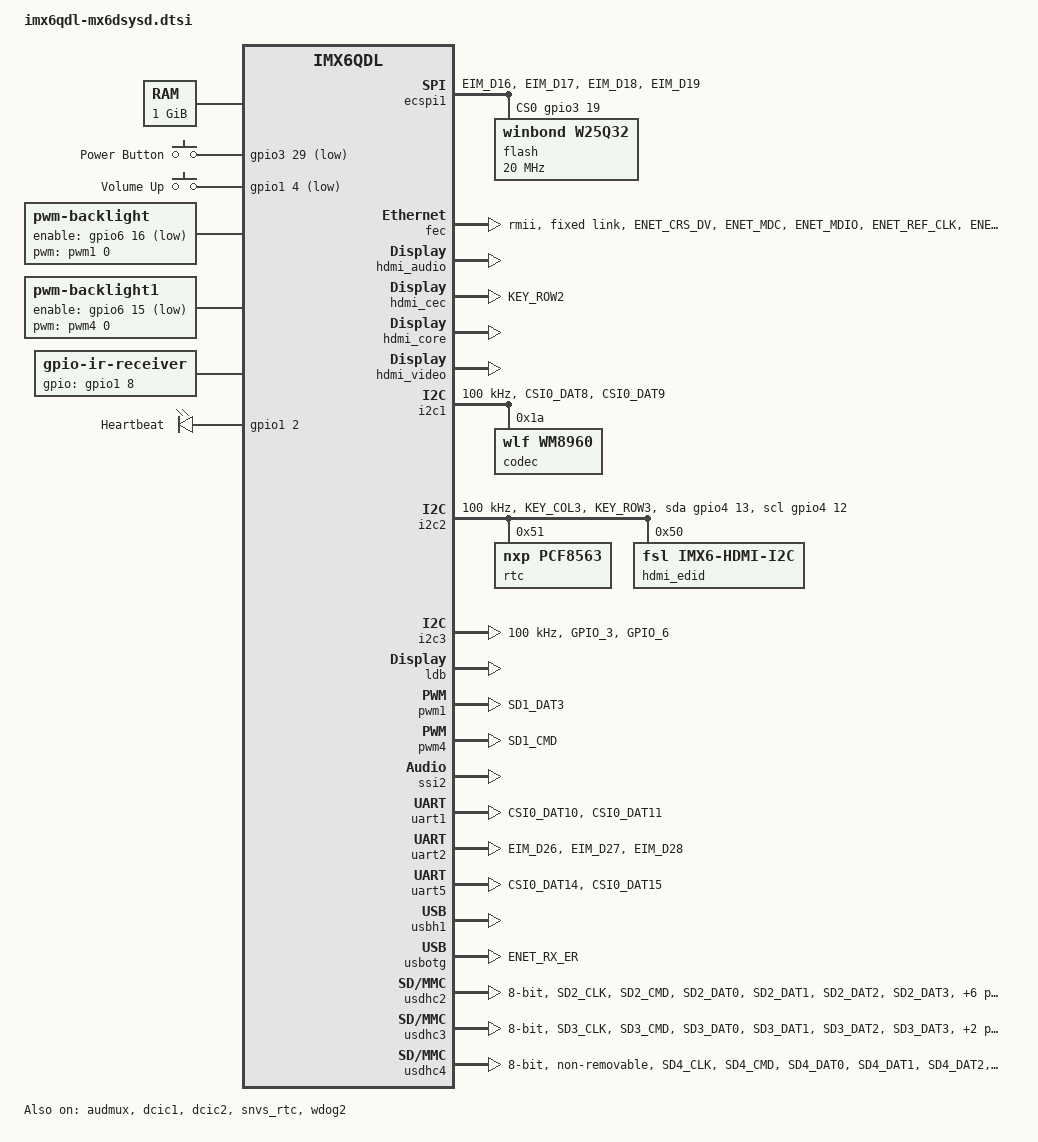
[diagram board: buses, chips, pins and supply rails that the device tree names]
/*
 * support fot the imx6 based aristainetos board
 *
 * Copyright (C) 2014 Heiko Schocher <hs@denx.de>
 *
 * Copyright 2015 Freescale Semiconductor, Inc. All Rights Reserved.
 *
 * This program is free software; you can redistribute it and/or modify
 * it under the terms of the GNU General Public License version 2 as
 * published by the Free Software Foundation.
 *
 */

#include <dt-bindings/gpio/gpio.h>
#include <dt-bindings/input/input.h>

/ {
	aliases {
		mxcfb0 = &mxcfb1;
		mxcfb1 = &mxcfb2;
		mxcfb2 = &mxcfb3;
		mxcfb3 = &mxcfb4;
	};

	chosen {
		stdout-path = &uart1;
	};

	
	memory: memory {
		reg = <0x10000000 0x40000000>;
	};

	gpio-keys {
		compatible = "gpio-keys";
		pinctrl-names = "default";
		pinctrl-0 = <&pinctrl_gpio_keys>;

		power {
			label = "Power Button";
			gpios = <&gpio3 29 GPIO_ACTIVE_LOW>;
			gpio-key,wakeup;
			linux,code = <KEY_POWER>;
		};

		volume-up {
			label = "Volume Up";
			gpios = <&gpio1 4 GPIO_ACTIVE_LOW>;
			gpio-key,wakeup;
			linux,code = <KEY_VOLUMEUP>;
		};

	/*	volume-down {
			label = "Volume Down";
			gpios = <&gpio6 4 GPIO_ACTIVE_LOW>;
			gpio-key,wakeup;
			linux,code = <KEY_VOLUMEDOWN>;
		};*/
	};

	sound-wm8960 {
		compatible ="fsl,imx6q-sabresd-wm8960", 
					"fsl,imx-audio-wm8960";
		model = "wm8960-audio";
		cpu-dai = <&ssi2>;
		audio-codec = <&codec>;
		codec-master;
		asrc-controller = <&asrc>;
		/*ssi-controller = <&ssi2>;*/
		gpr = <&gpr 4 0x100000 0x100000>;
		audio-routing =
			"Headset Jack", "HP_L",
            "Headset Jack", "HP_R",
			"Ext Spk", "SPK_LP",
			"Ext Spk", "SPK_LN",
			"Ext Spk", "SPK_RP",
			"Ext Spk", "SPK_RN",
			"LINPUT1", "Main MIC",
			"LINPUT2", "Main MIC"/*,
			"Main MIC", "MICB"*/;
		mux-int-port = <2>;
		mux-ext-port = <3>;
	/*	hp-det-gpios = <&gpio1 4 1>; */
		status = "okay";
	};

	sound-hdmi {
		compatible = "fsl,imx6q-audio-hdmi",
			     "fsl,imx-audio-hdmi";
		model = "imx-audio-hdmi";
		hdmi-controller = <&hdmi_audio>;
		/*status = "okay";*/
	};

	mxcfb1: fb@0 {
		compatible = "fsl,mxc_sdc_fb";
		disp_dev = "ldb";
		interface_pix_fmt = "RGB24";
		default_bpp = <32>;
		int_clk = <0>;
		late_init = <0>;
		status = "okay";
	};

	mxcfb2: fb@1 {
		compatible = "fsl,mxc_sdc_fb";
		disp_dev = "hdmi";
		interface_pix_fmt = "RGB24";
		mode_str ="1920x1080M@60";
		default_bpp = <32>;
		int_clk = <0>;
		late_init = <0>;
		status = "okay";
	};

	mxcfb3: fb@2 {
		compatible = "fsl,mxc_sdc_fb";
		disp_dev = "lcd";
		interface_pix_fmt = "RGB24";
		default_bpp = <32>;
		int_clk = <0>;
		late_init = <0>;
		status = "disabled";
	};

	mxcfb4: fb@3 {
		compatible = "fsl,mxc_sdc_fb";
		disp_dev = "ldb";
		interface_pix_fmt = "RGB24";
		default_bpp = <32>;
		int_clk = <0>;
		late_init = <0>;
		status = "disabled";
	};

	lcd@0 {
		compatible = "fsl,lcd";
		ipu_id = <0>;
		disp_id = <1>;
		default_ifmt = "RGB24";
		pinctrl-names = "default";
		pinctrl-0 = <&pinctrl_ipu1>;
		status = "okay";
	};

	backlight {
		compatible = "pwm-backlight";
		pwms = <&pwm1 0 5000000>;
		brightness-levels = <0 4 8 16 32 64 128 255>;
		default-brightness-level = <7>;
		status = "okay";
		enable-gpios = <&gpio6 16 1>;
	};

	backlight1 {
		compatible = "pwm-backlight1";
		pwms = <&pwm4 0 5000000>;
		brightness-levels = <0 4 8 16 32 64 128 255>;
		default-brightness-level = <7>;
		status = "okay";
		enable-gpios = <&gpio6 15 1>;
	};
	
	ir-receiver {
		compatible = "gpio-ir-receiver";
		gpios = <&gpio1 8 GPIO_ACTIVE_HIGH>;
		pinctrl-names = "default";
		pinctrl-0 = <&pinctrl_ir1>;
		};
/*
	sound-spdif {
		compatible = "fsl,imx-audio-spdif",
			   "fsl,imx-sabreauto-spdif";
		model = "imx-spdif";
		spdif-controller = <&spdif>;
		spdif-in;
	};
*/		
	mx6dsysd_gpio {
					toot-gpio-out = <&gpio5 18 0
					     			 &gpio5 19 0 
									 &gpio5 21 0 
									 &gpio6 2 0 
									 &gpio6 3 0
									 &gpio6 4 0>;
									
					toot-gpio-in = <&gpio4 6 1
									&gpio4 7 1
									&gpio4 8 1
									&gpio4 20 1
									&gpio2 25 1
									&gpio2 23 1
									&gpio2 24 1
									&gpio5 2 1>;
					};		
					
	leds {
    compatible = "gpio-leds";

    debug-led {
            label = "Heartbeat";
            gpios = <&gpio1 2 0>;
            linux,default-trigger = "heartbeat";
			    };
		};

	v4l2_cap_0 {
		compatible = "fsl,imx6q-v4l2-capture";
		ipu_id = <0>;
		csi_id = <0>;
		mclk_source = <0>;
		status = "okay";
	};

	v4l2_out {
		compatible = "fsl,mxc_v4l2_output";
		status = "okay";
	};

};

&audmux {
	pinctrl-names = "default";
	pinctrl-0 = <&pinctrl_audmux>;
	status = "okay";
};

&clks {
/*	assigned-clocks = <&clks IMX6QDL_PLL4_BYPASS_SRC>,
			  <&clks IMX6QDL_PLL4_BYPASS>,
			  <&clks IMX6QDL_CLK_LDB_DI0_SEL>,
			  <&clks IMX6QDL_CLK_LDB_DI1_SEL>,
			  <&clks IMX6QDL_CLK_PLL4_POST_DIV>;
	assigned-clock-parents = <&clks IMX6QDL_CLK_LVDS2_IN>,
				 <&clks IMX6QDL_PLL4_BYPASS_SRC>,
				 <&clks IMX6QDL_CLK_PLL2_PFD0_352M>,
				 <&clks IMX6QDL_CLK_PLL2_PFD0_352M>;
	assigned-clock-rates = <0>, <0>, <0>, <0>, <24576000>;*/
};

&ecspi1 {
	fsl,spi-num-chipselects = <1>;/*only one SPI devices*/
	cs-gpios = <&gpio3 19 0>;
	pinctrl-names = "default";
	pinctrl-0 = <&pinctrl_ecspi1 &pinctrl_ecspi1_cs>;
	status = "okay";

	flash: m25p80@0 {
		#address-cells = <1>;
		#size-cells = <1>;
		compatible = "winbond,w25q32";
		spi-max-frequency = <20000000>;
		reg = <0>;   
	};
	/*
	spidev: spidev@1 {  
        spi-max-frequency = <24000000>;    
        reg = <1>;    
        compatible = "rohm,dh2228fv";         
    };  
	*/
};

&fec {
	pinctrl-names = "default";
	pinctrl-0 = <&pinctrl_enet>;
	stop-mode = <&gpr 0x34 0x1b>;
	fsl,wakeup_irq = <0x0>;
	phy-mode = "rmii";
	phy-reset-gpios = <&gpio4 14 GPIO_ACTIVE_LOW>;
	phy-reset-duration = <0x64>;
	status = "okay";
	
	fixed-link {
					speed = <100>;
					full-duplex;
				};
};

&gpc {
	fsl,ldo-bypass = <0>;
};

&dcic1 {
	dcic_id = <0>;
	dcic_mux = "dcic-hdmi";
	status = "okay";
};

&dcic2 {
	dcic_id = <1>;
	dcic_mux = "dcic-lvds1";
	status = "okay";
};

&hdmi_audio {
	status = "okay";
};

&hdmi_cec {
	pinctrl-names = "default";
	pinctrl-0 = <&pinctrl_hdmi_cec>;
	status = "okay";
};

&hdmi_core {
	ipu_id = <0>;
	disp_id = <1>;
	status = "okay";
};

&hdmi_video {
	fsl,phy_reg_vlev = <0x0294>;
	fsl,phy_reg_cksymtx = <0x800d>;
	
	status = "okay";
};



&i2c1 {
	clock-frequency = <100000>;
	pinctrl-names = "default";
	pinctrl-0 = <&pinctrl_i2c1>;
	status = "okay";

	    codec: wm8960@1a {
		compatible = "wlf,wm8960";
	/*	pinctrl-0 = <&pinctrl_wm8960>;*/
		reg = <0x1a>;
		clocks = <&clks IMX6QDL_CLK_CKO>;
		clock-names = "mclk";
	/*	amic-mono;*/
		wlf,shared-lrclk;
	};
	
};

&i2c2 {
	clock-frequency = <100000>;
	pinctrl-names = "default";
	pinctrl-0 = <&pinctrl_i2c2>;
	pinctrl-1 = <&pinctrl_i2c2_gpio>;
	scl-gpios = <&gpio4 12 GPIO_ACTIVE_HIGH>;
	sda-gpios = <&gpio4 13 GPIO_ACTIVE_HIGH>;
	status = "okay";

	rtc@51 {
		compatible = "nxp,pcf8563";
		reg = <0x51>;
		work-mode = <1>;/*DCM mode*/
	};
		
	hdmi_edid: edid@50 {
		compatible = "fsl,imx6-hdmi-i2c";
		reg = <0x50>;
	};

};

&i2c3 {
	clock-frequency = <100000>;
	pinctrl-names = "default";
	pinctrl-0 = <&pinctrl_i2c3>;
	status = "okay";

};

&iomuxc {
	pinctrl-names = "default";
	pinctrl-0 = <&pinctrl_hog>;

	imx6qdl-sabresd {
		pinctrl_hog: hoggrp {
			fsl,pins = <
				MX6QDL_PAD_NANDF_D0__GPIO2_IO00 0x80000000
				MX6QDL_PAD_NANDF_D1__GPIO2_IO01 0x80000000
				MX6QDL_PAD_GPIO_0__CCM_CLKO1		0x130b0
			/*	MX6QDL_PAD_GPIO_4__GPIO1_IO04              0x8000000*/
				MX6QDL_PAD_EIM_OE__GPIO2_IO25              0x8000000
				MX6QDL_PAD_EIM_CS0__GPIO2_IO23              0x8000000
				MX6QDL_PAD_EIM_CS1__GPIO2_IO24              0x8000000
				MX6QDL_PAD_KEY_COL0__GPIO4_IO06              0x8000000
				MX6QDL_PAD_KEY_ROW0__GPIO4_IO07              0x8000000
				MX6QDL_PAD_KEY_COL1__GPIO4_IO08              0x8000000
				MX6QDL_PAD_KEY_ROW1__GPIO4_IO09              0x8000000
				MX6QDL_PAD_KEY_COL2__GPIO4_IO10              0x8000000
				MX6QDL_PAD_DI0_PIN4__GPIO4_IO20              0x8000000
				MX6QDL_PAD_EIM_A25__GPIO5_IO02              0x8000000
				MX6QDL_PAD_CSI0_PIXCLK__GPIO5_IO18              0x8000000
				MX6QDL_PAD_CSI0_MCLK__GPIO5_IO19              0x8000000
				MX6QDL_PAD_CSI0_VSYNC__GPIO5_IO21              0x8000000
				MX6QDL_PAD_CSI0_DAT16__GPIO6_IO02              0x8000000
				MX6QDL_PAD_CSI0_DAT17__GPIO6_IO03              0x8000000
				MX6QDL_PAD_CSI0_DAT18__GPIO6_IO04              0x8000000
				MX6QDL_PAD_NANDF_CS0__GPIO6_IO11              0x8000000
				MX6QDL_PAD_NANDF_CS1__GPIO6_IO14              0x8000000				
					>;
				    };

		pinctrl_audmux: audmuxgrp {
			fsl,pins = <
				MX6QDL_PAD_CSI0_DAT7__AUD3_RXD		0x130b0
				MX6QDL_PAD_CSI0_DAT4__AUD3_TXC		0x130b0
				MX6QDL_PAD_CSI0_DAT5__AUD3_TXD		0x110b0
				MX6QDL_PAD_CSI0_DAT6__AUD3_TXFS		0x130b0
				>;
					};
/*
		pinctrl_wm8960:wm8960grp {
				fsl,pins = <
				MX6QDL_PAD_GPIO_0__CCM_CLKO1		0x1b0b0
				>;
					};
*/
		pinctrl_ecspi1: ecspi1grp {
			fsl,pins = <
				MX6QDL_PAD_EIM_D16__ECSPI1_SCLK            0x000100B1
                MX6QDL_PAD_EIM_D17__ECSPI1_MISO            0x000100B1
                MX6QDL_PAD_EIM_D18__ECSPI1_MOSI            0x000100B1
               	>;
					};
					
		pinctrl_ecspi1_cs: ecspi1cs {
			fsl,pins = <
				MX6QDL_PAD_EIM_D19__GPIO3_IO19 0x80000000
			>;
					};

		pinctrl_enet: enetgrp {
			fsl,pins = <
				MX6QDL_PAD_ENET_CRS_DV__ENET_RX_EN         0x0001B0B0
                		MX6QDL_PAD_ENET_MDC__ENET_MDC              0x0001B0B0
                		MX6QDL_PAD_ENET_MDIO__ENET_MDIO            0x0001B0B0
                		MX6QDL_PAD_ENET_REF_CLK__ENET_TX_CLK       0x0001B0B0
                		MX6QDL_PAD_ENET_RXD0__ENET_RX_DATA0        0x0001B0B0
                		MX6QDL_PAD_ENET_RXD1__ENET_RX_DATA1        0x0001B0B0
                		MX6QDL_PAD_ENET_TXD0__ENET_TX_DATA0        0x0001B0B0
                		MX6QDL_PAD_ENET_TXD1__ENET_TX_DATA1        0x0001B0B0
                		MX6QDL_PAD_ENET_TX_EN__ENET_TX_EN          0x000130B0
                		MX6QDL_PAD_GPIO_16__ENET_REF_CLK           0x4001b0a8
                		MX6QDL_PAD_KEY_COL4__GPIO4_IO14			   0x80000000
                		MX6QDL_PAD_GPIO_5__GPIO1_IO05	 	 	   0x80000000
				>;
				};

		pinctrl_gpio_keys: gpio_keysgrp {
			fsl,pins = <
				MX6QDL_PAD_EIM_D29__GPIO3_IO29 0x1b0b0
				MX6QDL_PAD_GPIO_4__GPIO1_IO04  0x1b0b0
				>;
						};

		pinctrl_hdmi_cec: hdmicecgrp {
			fsl,pins = <
				MX6QDL_PAD_KEY_ROW2__HDMI_TX_CEC_LINE 0x108b0
			>;
						};

		pinctrl_hdmi_hdcp: hdmihdcpgrp {
			fsl,pins = <
				MX6QDL_PAD_KEY_COL3__HDMI_TX_DDC_SCL 0x4001b8b1
				MX6QDL_PAD_KEY_ROW3__HDMI_TX_DDC_SDA 0x4001b8b1
				>;
						};

		pinctrl_i2c1: i2c1grp {
			fsl,pins = <
			MX6QDL_PAD_CSI0_DAT8__I2C1_SDA             0x4001b8b1
            		MX6QDL_PAD_CSI0_DAT9__I2C1_SCL             0x4001b8b1
			>;
					};

		pinctrl_i2c2: i2c2grp {
		fsl,pins = <
			MX6QDL_PAD_KEY_COL3__I2C2_SCL              0x4001b8b9
			MX6QDL_PAD_KEY_ROW3__I2C2_SDA              0x4001b8b9
			>;
	   				 };

		pinctrl_i2c2_gpio: i2c2_gpio_grp {
			fsl,pins = <
				MX6QDL_PAD_KEY_COL3__GPIO4_IO12		0x1b0b0
				MX6QDL_PAD_KEY_ROW3__GPIO4_IO13		0x1b0b0
			>;
		};


		pinctrl_i2c3: i2c3grp {
		fsl,pins = <
			MX6QDL_PAD_GPIO_3__I2C3_SCL                0x4001b8b1
			MX6QDL_PAD_GPIO_6__I2C3_SDA                0x4001b8b1
			>;
	    			};

		pinctrl_ipu1: ipu1grp {
			fsl,pins = <
				MX6QDL_PAD_DI0_DISP_CLK__IPU1_DI0_DISP_CLK 0x10
				MX6QDL_PAD_DI0_PIN15__IPU1_DI0_PIN15       0x10
				MX6QDL_PAD_DI0_PIN2__IPU1_DI0_PIN02        0x10
				MX6QDL_PAD_DI0_PIN3__IPU1_DI0_PIN03        0x10
				MX6QDL_PAD_DISP0_DAT0__IPU1_DISP0_DATA00   0x10
				MX6QDL_PAD_DISP0_DAT1__IPU1_DISP0_DATA01   0x10
				MX6QDL_PAD_DISP0_DAT2__IPU1_DISP0_DATA02   0x10
				MX6QDL_PAD_DISP0_DAT3__IPU1_DISP0_DATA03   0x10
				MX6QDL_PAD_DISP0_DAT4__IPU1_DISP0_DATA04   0x10
				MX6QDL_PAD_DISP0_DAT5__IPU1_DISP0_DATA05   0x10
				MX6QDL_PAD_DISP0_DAT6__IPU1_DISP0_DATA06   0x10
				MX6QDL_PAD_DISP0_DAT7__IPU1_DISP0_DATA07   0x10
				MX6QDL_PAD_DISP0_DAT8__IPU1_DISP0_DATA08   0x10
				MX6QDL_PAD_DISP0_DAT9__IPU1_DISP0_DATA09   0x10
				MX6QDL_PAD_DISP0_DAT10__IPU1_DISP0_DATA10  0x10
				MX6QDL_PAD_DISP0_DAT11__IPU1_DISP0_DATA11  0x10
				MX6QDL_PAD_DISP0_DAT12__IPU1_DISP0_DATA12  0x10
				MX6QDL_PAD_DISP0_DAT13__IPU1_DISP0_DATA13  0x10
				MX6QDL_PAD_DISP0_DAT14__IPU1_DISP0_DATA14  0x10
				MX6QDL_PAD_DISP0_DAT15__IPU1_DISP0_DATA15  0x10
				MX6QDL_PAD_DISP0_DAT16__IPU1_DISP0_DATA16  0x10
				MX6QDL_PAD_DISP0_DAT17__IPU1_DISP0_DATA17  0x10
				MX6QDL_PAD_DISP0_DAT18__IPU1_DISP0_DATA18  0x10
				MX6QDL_PAD_DISP0_DAT19__IPU1_DISP0_DATA19  0x10
				MX6QDL_PAD_DISP0_DAT20__IPU1_DISP0_DATA20  0x10
				MX6QDL_PAD_DISP0_DAT21__IPU1_DISP0_DATA21  0x10
				MX6QDL_PAD_DISP0_DAT22__IPU1_DISP0_DATA22  0x10
				MX6QDL_PAD_DISP0_DAT23__IPU1_DISP0_DATA23  0x10
			>;
				};

		pinctrl_pwm1: pwm1grp {
			fsl,pins = <
				MX6QDL_PAD_SD1_DAT3__PWM1_OUT		0x1b0b1
				>;
				};
		
		pinctrl_pwm4: pwm4grp {
			fsl,pins = <
				MX6QDL_PAD_SD1_CMD__PWM4_OUT		0x1b0b1
				>;
				};
		
		

		pinctrl_uart1: uart1grp {
		fsl,pins = <
			MX6QDL_PAD_CSI0_DAT10__UART1_TX_DATA       0x0001B0B1
            		MX6QDL_PAD_CSI0_DAT11__UART1_RX_DATA       0x0001B0B1
            		>;
	  			 };
	   
	   	pinctrl_uart2: uart2grp {
		fsl,pins = <
				MX6QDL_PAD_EIM_D26__UART2_TX_DATA          0x0001B0B1
            	MX6QDL_PAD_EIM_D27__UART2_RX_DATA          0x0001B0B1
                MX6QDL_PAD_EIM_D28__UART2_CTS_B            0x0001B0B1
			>;
				};
	
		pinctrl_uart3: uart3grp {
		fsl,pins = <
				MX6QDL_PAD_EIM_D24__UART3_TX_DATA          0x0001B0B1
            	MX6QDL_PAD_EIM_D25__UART3_RX_DATA          0x0001B0B1
			>;
				};
	
	
		pinctrl_uart4: uart4grp {
		fsl,pins = <
				MX6QDL_PAD_CSI0_DAT12__UART4_TX_DATA       0x0001B0B1
            	MX6QDL_PAD_CSI0_DAT13__UART4_RX_DATA       0x0001B0B1
			>;
				};
		
		pinctrl_uart5: uart5grp {
		fsl,pins = <
				MX6QDL_PAD_CSI0_DAT14__UART5_TX_DATA       0x0001B0B1
            	MX6QDL_PAD_CSI0_DAT15__UART5_RX_DATA       0x0001B0B1
			>;
				};

		pinctrl_usbotg: usbotggrp {
			fsl,pins = <
			MX6QDL_PAD_ENET_RX_ER__USB_OTG_ID	0x17059
			>;
		};
		
		pinctrl_usdhc2: usdhc2grp {
		fsl,pins = <
					MX6QDL_PAD_SD2_CLK__SD2_CLK                0x00010059
                	MX6QDL_PAD_SD2_CMD__SD2_CMD                0x00017059
                	MX6QDL_PAD_SD2_DAT0__SD2_DATA0             0x00017059
                	MX6QDL_PAD_SD2_DAT1__SD2_DATA1             0x00017059
                	MX6QDL_PAD_SD2_DAT2__SD2_DATA2             0x00017059
                	MX6QDL_PAD_SD2_DAT3__SD2_DATA3             0x00017059
			MX6QDL_PAD_NANDF_D4__SD2_DATA4		0x17059
			MX6QDL_PAD_NANDF_D5__SD2_DATA5		0x17059
			MX6QDL_PAD_NANDF_D6__SD2_DATA6		0x17059
			MX6QDL_PAD_NANDF_D7__SD2_DATA7		0x17059
                               
			>;
					};
	
		pinctrl_usdhc3: usdhc3grp {
		fsl,pins = <
					MX6QDL_PAD_SD3_CLK__SD3_CLK                0x00010059
                	MX6QDL_PAD_SD3_CMD__SD3_CMD                0x00017059
                	MX6QDL_PAD_SD3_DAT0__SD3_DATA0             0x00017059
                	MX6QDL_PAD_SD3_DAT1__SD3_DATA1             0x00017059
                	MX6QDL_PAD_SD3_DAT2__SD3_DATA2             0x00017059
                	MX6QDL_PAD_SD3_DAT3__SD3_DATA3             0x00017059
                               
			>;
					};
	
		pinctrl_usdhc4: usdhc4grp {
		fsl,pins = <
					MX6QDL_PAD_SD4_CLK__SD4_CLK                0x00010059
                	MX6QDL_PAD_SD4_CMD__SD4_CMD                0x00017059
                	MX6QDL_PAD_SD4_DAT0__SD4_DATA0             0x00017059
                	MX6QDL_PAD_SD4_DAT1__SD4_DATA1             0x00017059
                	MX6QDL_PAD_SD4_DAT2__SD4_DATA2             0x00017059
                	MX6QDL_PAD_SD4_DAT3__SD4_DATA3             0x00017059
                	MX6QDL_PAD_SD4_DAT4__SD4_DATA4             0x00017059
                	MX6QDL_PAD_SD4_DAT5__SD4_DATA5             0x00017059
                	MX6QDL_PAD_SD4_DAT6__SD4_DATA6             0x00017059
                	MX6QDL_PAD_SD4_DAT7__SD4_DATA7             0x00017059
			>;
					};
		
		pinctrl_wdog: wdoggrp {
			fsl,pins = <
			MX6QDL_PAD_GPIO_1__WDOG2_B 0x80000000
			>;
				};
		
		pinctrl_ir1: irgrp {
			fsl,pins= <
 			MX6QDL_PAD_GPIO_8__GPIO1_IO08  0x80000000
			>;
				};
				
		pinctrl_epdc_0: epdcgrp-0 {
                        fsl,pins = <
                                MX6QDL_PAD_EIM_A16__EPDC_DATA00    0x80000000
                                MX6QDL_PAD_EIM_DA10__EPDC_DATA01   0x80000000
                                MX6QDL_PAD_EIM_DA12__EPDC_DATA02   0x80000000
                                MX6QDL_PAD_EIM_DA11__EPDC_DATA03   0x80000000
                                MX6QDL_PAD_EIM_LBA__EPDC_DATA04    0x80000000
                                MX6QDL_PAD_EIM_EB2__EPDC_DATA05    0x80000000
                                MX6QDL_PAD_EIM_CS0__EPDC_DATA06    0x80000000
                                MX6QDL_PAD_EIM_RW__EPDC_DATA07     0x80000000
                                MX6QDL_PAD_EIM_A21__EPDC_GDCLK     0x80000000
                                MX6QDL_PAD_EIM_A22__EPDC_GDSP      0x80000000
                                MX6QDL_PAD_EIM_A23__EPDC_GDOE      0x80000000
                                MX6QDL_PAD_EIM_A24__EPDC_GDRL      0x80000000
                                MX6QDL_PAD_EIM_D31__EPDC_SDCLK_P   0x80000000
                                MX6QDL_PAD_EIM_D27__EPDC_SDOE      0x80000000
                                MX6QDL_PAD_EIM_DA1__EPDC_SDLE      0x80000000
                                MX6QDL_PAD_EIM_EB1__EPDC_SDSHR     0x80000000
                                MX6QDL_PAD_EIM_DA2__EPDC_BDR0      0x80000000
                                MX6QDL_PAD_EIM_DA4__EPDC_SDCE0     0x80000000
                                MX6QDL_PAD_EIM_DA5__EPDC_SDCE1     0x80000000
                                MX6QDL_PAD_EIM_DA6__EPDC_SDCE2     0x80000000
                        >;
                };
        
	};

};

&ldb {
	status = "okay";
	split-mode;

	lvds-channel@0 {
		fsl,data-mapping = "spwg";
		fsl,data-width = <24>;
		primary;
		status = "okay";

		display-timings {
			native-mode = <&timing0>;
			timing0: hsd100pxn1 {
				clock-frequency = <128500000>;
				hactive = <1920>;
				vactive = <1080>;
				hback-porch = <220>;
				hfront-porch = <40>;
				vback-porch = <21>;
				vfront-porch = <7>;
				hsync-len = <60>;
				vsync-len = <10>;
			};
		};
	};

	lvds-channel@1 {
		fsl,data-mapping = "spwg";
		fsl,data-width = <18>;
		status = "disabled";

		display-timings {
			native-mode = <&timing1>;
			timing1: hsd100pxn1 {
				clock-frequency = <128500000>;
				hactive = <1920>;
				vactive = <1080>;
				hback-porch = <220>;
				hfront-porch = <40>;
				vback-porch = <21>;
				vfront-porch = <7>;
				hsync-len = <60>;
				vsync-len = <10>;
			};
		};
	};
};

&pwm1 {
	pinctrl-names = "default";
	pinctrl-0 = <&pinctrl_pwm1>;
	status = "okay";
};

&pwm4 {
	pinctrl-names = "default";
	pinctrl-0 = <&pinctrl_pwm4>;
	status = "okay";
};
/*
&spdif {
	pinctrl-names = "default";
	pinctrl-0 = <&pinctrl_spdif>;
	assigned-clocks = <&clks IMX6QDL_CLK_SPDIF_SEL>,
			  <&clks IMX6QDL_CLK_SPDIF_PODF>;
	assigned-clock-parents = <&clks IMX6QDL_CLK_PLL3_PFD3_454M>;
	assigned-clock-rates = <0>, <227368421>;
	status = "okay";
};
*/

&snvs_rtc {
	status = "okay";
	   };


&snvs_poweroff {
	status = "okay";
};

&ssi2 {
	fsl,mode = "i2s-slave";
/*	assigned-clocks = <&clks IMX6QDL_CLK_PLL4>,
			  <&clks IMX6QDL_PLL4_BYPASS>,
			  <&clks IMX6QDL_CLK_SSI2_SEL>;
	assigned-clock-parents = <&clks IMX6QDL_CLK_OSC>,
				 <&clks IMX6QDL_CLK_PLL4>,
				 <&clks IMX6QDL_CLK_PLL4_AUDIO_DIV>;
	assigned-clock-rates = <1179648000>, <0>, <0>;*/
	status = "okay";
};

&uart1 {
	pinctrl-names = "default";
	pinctrl-0 = <&pinctrl_uart1>;
	status = "okay";
};

&uart2 {
	pinctrl-names = "default";
	pinctrl-0 = <&pinctrl_uart2>;
	status = "okay";
	fsl,uart-has-rtscts;
/*	cts-gpios = <&gpio3 28 GPIO_ACTIVE_LOW>;
	linux,rs485-enabled-at-boot-time; */
};

&uart5 {
	pinctrl-names = "default";
	pinctrl-0 = <&pinctrl_uart5>;
	status = "okay";
};


&usbh1 {
	status = "okay";
};

&usbotg {
	pinctrl-names = "default";
	pinctrl-0 = <&pinctrl_usbotg>;
	disable-over-current;
	srp-disable;
	hnp-disable;
	adp-disable;
	status = "okay";
};

&usbphy1 {
	tx-d-cal = <0x5>;
};

&usbphy2 {
	tx-d-cal = <0x5>;
};

&usdhc2 {
	pinctrl-names = "default";
	pinctrl-0 = <&pinctrl_usdhc2>;
	bus-width = <8>;
	cd-gpios = <&gpio2 0 GPIO_ACTIVE_LOW>;
	wp-gpios = <&gpio2 1 GPIO_ACTIVE_HIGH>;
	no-1-8-v;
	keep-power-in-suspend;
	enable-sdio-wakeup;
	status = "okay";
};

&usdhc3 {
	pinctrl-names = "default";
	pinctrl-0 = <&pinctrl_usdhc3>;
	bus-width = <8>;
	cd-gpios = <&gpio2 2 GPIO_ACTIVE_LOW>;
	wp-gpios = <&gpio2 3 GPIO_ACTIVE_HIGH>;
	no-1-8-v;
	keep-power-in-suspend;
	enable-sdio-wakeup;
	status = "okay";
};

&usdhc4 {
	pinctrl-names = "default";
	pinctrl-0 = <&pinctrl_usdhc4>;
	bus-width = <8>;
	non-removable;
	no-1-8-v;
	keep-power-in-suspend;
	status = "okay";
};

&wdog1 {
	status = "disabled";
};

&wdog2 {
	pinctrl-names = "default";
	pinctrl-0 = <&pinctrl_wdog>;
	fsl,ext-reset-output;
	status = "okay";
};

&epdc {
        pinctrl-names = "default";
        pinctrl-0 = <&pinctrl_epdc_0>;
       /* V3P3-supply = <&V3P3_reg>;
        VCOM-supply = <&VCOM_reg>;
        DISPLAY-supply = <&DISPLAY_reg>;*/
        status = "disabled";
};

